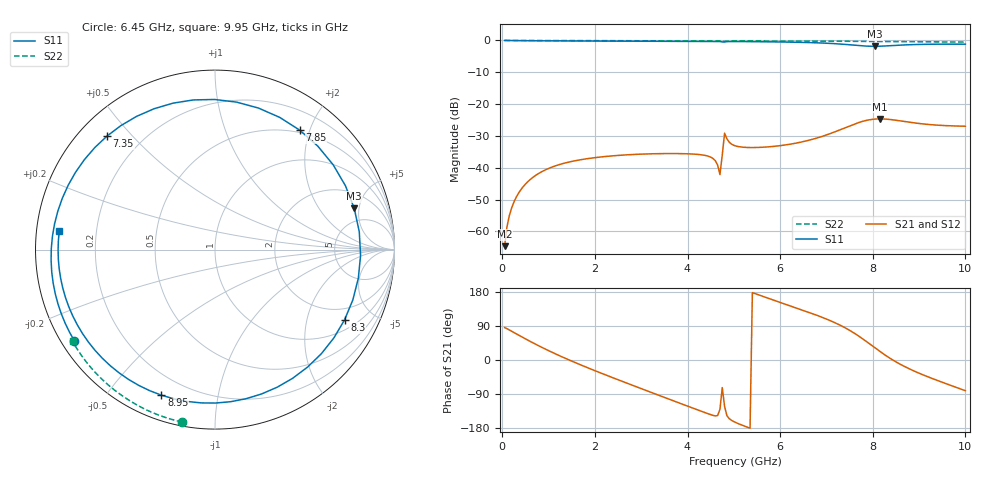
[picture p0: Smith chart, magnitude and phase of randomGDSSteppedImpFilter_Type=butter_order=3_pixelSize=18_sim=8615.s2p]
! freq	dB(S11)	phase(S11)	dB(S12)	phase(S12)
!  dB(S21)	phase(S21)	dB(S22)	phase(S22)
!S-par simulation data
#  GHz  S  DB  R 50
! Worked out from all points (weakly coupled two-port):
!   200 points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, 50 MHz to 10 GHz, reference 50 ohm
!   highest |S21| = -24.65 dB at 8.15 GHz (marker M1); lowest = -64.7 dB at 50 MHz (marker M2)
!   lowest |S11| = -1.8 dB at 8.05 GHz (marker M3), VSWR 9.48, Z = 168 + j223 ohm
!   |S11| at or under -10 dB: nowhere
!   |S22| runs from -0.5 to 0.0 dB; largest |S21 - S12| = 0
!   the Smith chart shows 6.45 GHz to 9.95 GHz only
!   S11 on the Smith chart (normalised r, x): 6.45 GHz: 0.04, -0.30; 7.35 GHz: 0.08, +0.43; 7.85 GHz: 0.46, +1.85; 8.3 GHz: 1.41, -3.40; 8.95 GHz: 0.11, -0.69; 9.95 GHz: 0.07, +0.06
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0.05  -0.01 -6.2  -64.66 85.5  -64.66 85.5  -0.00 -0.9
0.25  -0.05 -30.3  -50.83 72.6  -50.83 72.6  -0.01 -4.3
0.8  -0.11 -93.1  -41.68 36.6  -41.68 36.6  -0.02 -13.6
1.3  -0.15 -143.6  -38.73 7.7  -38.73 7.7  -0.03 -22.1
1.75  -0.18 175.3  -37.35 -15.8  -37.35 -15.8  -0.04 -29.6
2.6  -0.21 104.2  -36.03 -56.9  -36.03 -56.9  -0.06 -43.5
3.4  -0.24 42.3  -35.57 -94.1  -35.57 -94.1  -0.08 -56.2
4  -0.27 -0.2  -35.63 -121.7  -35.63 -121.7  -0.09 -65.4
4.7  -0.33 -45.4  -42.16 -130.2  -42.16 -130.2  -0.15 -76.5
4.8  -0.50 -50.0  -29.15 -122.7  -29.15 -122.7  -0.28 -76.6
5.05  -0.35 -65.1  -33.21 -165.6  -33.21 -165.6  -0.13 -80.8
6.45  -0.59 -147.0  -31.95 133.1  -31.95 133.1  -0.19 -100.8
6.7  -0.69 -164.5  -31.06 122.2  -31.06 122.2  -0.21 -104.2
7.35  -1.18 133.6  -27.75 88.4  -27.75 88.4  -0.25 -113.0
7.85  -1.77 54.6  -25.16 49.9  -25.16 49.9  -0.30 -119.6
8.05  -1.84 16.5  -24.70 31.9  -24.70 31.9  -0.31 -122.3
8.15  -1.81 -2.2  -24.65 22.9  -24.65 22.9  -0.32 -123.6
8.3  -1.71 -28.5  -24.74 10.3  -24.74 10.3  -0.33 -125.5
8.35  -1.67 -36.6  -24.81 6.3  -24.81 6.3  -0.34 -126.2
8.95  -1.27 -110.2  -26.01 -32.2  -26.01 -32.2  -0.39 -134.0
9.95  -1.17 173.3  -26.95 -78.9  -26.95 -78.9  -0.50 -147.2
10  -1.17 169.9  -26.96 -81.1  -26.96 -81.1  -0.51 -147.8
